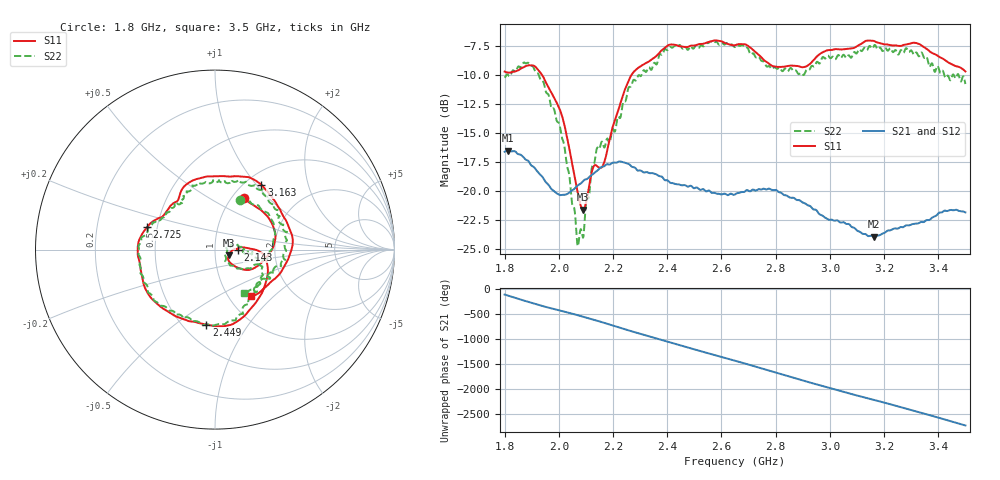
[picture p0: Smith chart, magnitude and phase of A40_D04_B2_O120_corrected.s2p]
! Created with skrf 1.9.0 (http://scikit-rf.org).
# Hz S RI R 50.0
!freq ReS11 ImS11 ReS21 ImS21 ReS12 ImS12 ReS22 ImS22
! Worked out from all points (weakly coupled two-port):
!   1601 points, 1.8 GHz to 3.5 GHz, reference 50 ohm
!   highest |S21| = -16.53 dB at 1.812 GHz (marker M1); lowest = -24.0 dB at 3.163 GHz (marker M2)
!   lowest |S11| = -21.6 dB at 2.09 GHz (marker M3), VSWR 1.18, Z = 58.2 - j3.61 ohm
!   |S11| at or under -10 dB: 1.939 GHz to 2.268 GHz (328.8 MHz wide, 15.6 % of centre)
!   |S22| runs from -24.8 to -7.1 dB; largest |S21 - S12| = 0.0024
!   S11 on the Smith chart (normalised r, x): 1.8 GHz: 1.14, +0.73; 2.143 GHz: 1.29, -0.00; 2.449 GHz: 0.65, -0.66; 2.725 GHz: 0.44, +0.13; 3.163 GHz: 1.18, +1.06; 3.5 GHz: 1.26, -0.74
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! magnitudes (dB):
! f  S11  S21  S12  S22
! 1.8 GHz  -9.7  -16.6  -16.6  -10.2
! 1.812 GHz  -9.8  -16.5  -16.5  -9.9
! 1.882 GHz  -9.2  -17.3  -17.4  -9.0
! 1.942 GHz  -10.1  -18.9  -18.9  -10.6
! 2.013 GHz  -13.6  -20.4  -20.3  -15.5
! 2.068 GHz  -19.9  -19.6  -19.6  -24.5
! 2.084 GHz  -21.5  -19.3  -19.3  -23.5
! 2.09 GHz  -21.6  -19.2  -19.2  -24.0
! 2.125 GHz  -18.1  -18.6  -18.6  -17.8
! 2.143 GHz  -17.9  -18.2  -18.2  -16.3
! 2.167 GHz  -17.6  -17.9  -17.9  -16.2
! 2.264 GHz  -10.1  -17.8  -17.8  -11.0
! 2.367 GHz  -8.2  -18.7  -18.6  -8.5
! 2.449 GHz  -7.5  -19.5  -19.5  -7.5
! 2.65 GHz  -7.4  -20.3  -20.3  -7.6
! 2.725 GHz  -8.0  -20.0  -20.0  -8.4
! 2.798 GHz  -9.2  -19.9  -19.9  -9.3
! 2.934 GHz  -8.9  -21.5  -21.5  -9.2
! 3.163 GHz  -7.0  -24.0  -23.9  -7.4
! 3.217 GHz  -7.4  -23.4  -23.4  -7.8
! 3.324 GHz  -7.3  -22.8  -22.8  -8.2
! 3.5 GHz  -9.7  -21.9  -21.9  -10.8
